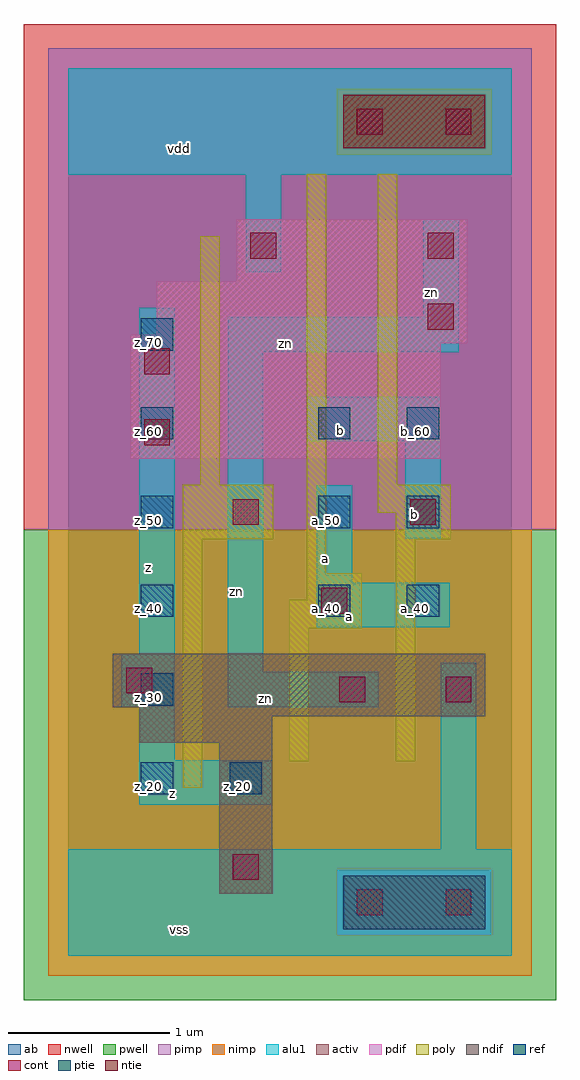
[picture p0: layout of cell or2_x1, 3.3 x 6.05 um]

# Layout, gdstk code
import gdstk
lib = gdstk.Library(unit=1e-6, precision=2.5e-09)
def R(c, l, rs):  # rectangles x0, y0, x1, y1
    for r in rs: c.add(gdstk.rectangle(r[:2], r[2:], *l))
def A(c, l, x, y, w, h, nx, ny, dx, dy):  # array of equal rectangles
    R(c, l, [(x+i*dx, y+j*dy, x+i*dx+w, y+j*dy+h) for i in range(nx) for j in range(ny)])
ndif = (3, 0)
pdif = (4, 0)
ntie = (5, 0)
ptie = (6, 0)
ref = (24, 0)
cont = (25, 0)
pwell = (41, 0)
nwell = (42, 0)
activ = (43, 0)
pimp = (44, 0)
nimp = (45, 0)
poly = (46, 0)
alu1 = (49, 0)
ab = (63, 0)

or2_x1 = lib.new_cell('or2_x1')
R(or2_x1, ndif, [(0.935,0.385,1.265,1.32), (0.44,1.32,1.265,1.485), (0.44,1.485,2.585,1.54), (0.275,1.54,2.585,1.87)])
R(or2_x1, pdif, [(0.385,3.08,2.31,3.795), (0.385,3.795,2.475,3.85), (0.55,3.85,2.475,4.18), (1.045,4.18,2.475,4.565)])
R(or2_x1, ntie, [(1.705,5.005,2.585,5.335)])
R(or2_x1, ptie, [(1.705,0.165,2.585,0.495)])
A(or2_x1, ref, 0.45, 1, 0.2, 0.2, 1, 6, 0, 0.55)
A(or2_x1, ref, 1.55, 2.1, 0.2, 0.2, 1, 3, 0, 0.55)
A(or2_x1, ref, 2.1, 2.1, 0.2, 0.2, 1, 3, 0, 0.55)
R(or2_x1, ref, [(1,1,1.2,1.2)])
R(or2_x1, cont, [(1.79,0.25,1.95,0.41), (2.34,0.25,2.5,0.41), (1.02,0.47,1.18,0.63), (1.68,1.57,1.84,1.73), (2.34,1.57,2.5,1.73), (0.36,1.625,0.52,1.785), (1.57,2.12,1.73,2.28), (1.02,2.67,1.18,2.83), (2.12,2.67,2.28,2.83), (0.47,3.165,0.63,3.325), (0.47,3.605,0.63,3.765), (2.23,3.88,2.39,4.04), (1.13,4.32,1.29,4.48), (2.23,4.32,2.39,4.48), (1.79,5.09,1.95,5.25), (2.34,5.09,2.5,5.25)])
R(or2_x1, pwell, [(-0.275,-0.275,3.025,2.64)])
R(or2_x1, nwell, [(-0.275,2.64,3.025,5.775)])
R(or2_x1, activ, [(1.705,0.165,2.585,0.495), (0.935,0.385,1.265,1.32), (0.44,1.32,1.265,1.485), (0.44,1.485,2.585,1.54), (0.275,1.54,2.585,1.87), (0.385,3.08,2.31,3.795), (0.385,3.795,2.475,3.85), (0.55,3.85,2.475,4.18), (1.045,4.18,2.475,4.565), (1.705,5.005,2.585,5.335)])
R(or2_x1, pimp, [(1.665,0.125,2.625,0.535), (-0.125,2.64,2.875,4.965), (-0.125,4.965,1.665,5.375), (2.625,4.965,2.875,5.375), (-0.125,5.375,2.875,5.625)])
R(or2_x1, nimp, [(-0.125,-0.125,2.875,0.125), (-0.125,0.125,1.665,0.535), (2.625,0.125,2.875,0.535), (-0.125,0.535,2.875,2.64), (1.665,4.965,2.625,5.375)])
R(or2_x1, poly, [(0.71,1.04,0.83,2.58), (1.37,1.205,1.49,2.03), (2.03,1.205,2.15,2.58), (1.37,2.03,1.82,2.205), (1.48,2.205,1.82,2.37), (1.48,2.37,1.6,4.845), (0.71,2.58,1.27,2.92), (2.03,2.58,2.37,2.745), (1.92,2.745,2.37,2.92), (0.82,2.92,0.94,4.46), (1.92,2.92,2.04,4.845)])
R(or2_x1, alu1, [(0,0,2.75,0.66), (2.31,0.66,2.53,1.815), (0.44,0.935,1.265,1.21), (0.44,1.21,0.66,1.54), (0.33,1.54,0.66,1.87), (0.99,1.54,1.925,1.76), (0.99,1.76,1.21,3.74), (0.44,1.87,0.66,4.015), (1.54,2.035,2.365,2.31), (1.54,2.31,1.76,2.915), (2.09,2.585,2.31,3.19), (1.485,3.19,2.31,3.465), (0.99,3.74,2.42,3.96), (2.2,3.96,2.42,4.565), (1.1,4.235,1.32,4.84), (0,4.84,2.75,5.5)])
R(or2_x1, ab, [(0,0,2.75,5.5)])
or2_x1.add(gdstk.Label('vss', (0.6875,0.165), layer=49, texttype=0))
or2_x1.add(gdstk.Label('z', (0.645,1.0025), layer=49, texttype=0))
or2_x1.add(gdstk.Label('zn', (1.2225,1.595), layer=49, texttype=0))
or2_x1.add(gdstk.Label('a', (1.745,2.1025), layer=49, texttype=0))
or2_x1.add(gdstk.Label('b', (2.145,2.735), layer=49, texttype=0))
or2_x1.add(gdstk.Label('a', (1.595,2.46), layer=49, texttype=0))
or2_x1.add(gdstk.Label('b', (1.69,3.2575), layer=49, texttype=0))
or2_x1.add(gdstk.Label('zn', (1.045,2.255), layer=49, texttype=0))
or2_x1.add(gdstk.Label('zn', (1.3475,3.795), layer=49, texttype=0))
or2_x1.add(gdstk.Label('zn', (2.255,4.11), layer=49, texttype=0))
or2_x1.add(gdstk.Label('z', (0.495,2.405), layer=49, texttype=0))
or2_x1.add(gdstk.Label('vdd', (0.6875,5.005), layer=49, texttype=0))
or2_x1.add(gdstk.Label('b_60', (1.6,3.25), layer=24, texttype=0))
or2_x1.add(gdstk.Label('z_70', (0.5,3.8), layer=24, texttype=0))
or2_x1.add(gdstk.Label('z_20', (1.05,1.05), layer=24, texttype=0))
or2_x1.add(gdstk.Label('z_20', (0.5,1.05), layer=24, texttype=0))
or2_x1.add(gdstk.Label('z_30', (0.5,1.6), layer=24, texttype=0))
or2_x1.add(gdstk.Label('z_40', (0.5,2.15), layer=24, texttype=0))
or2_x1.add(gdstk.Label('z_50', (0.5,2.7), layer=24, texttype=0))
or2_x1.add(gdstk.Label('z_60', (0.5,3.25), layer=24, texttype=0))
or2_x1.add(gdstk.Label('a_40', (2.15,2.15), layer=24, texttype=0))
or2_x1.add(gdstk.Label('a_40', (1.6,2.15), layer=24, texttype=0))
or2_x1.add(gdstk.Label('a_50', (1.6,2.7), layer=24, texttype=0))
or2_x1.add(gdstk.Label('b_50', (2.15,2.7), layer=24, texttype=0))
or2_x1.add(gdstk.Label('b_60', (2.15,3.25), layer=24, texttype=0))

lib.write_gds('or2_x1.gds')
